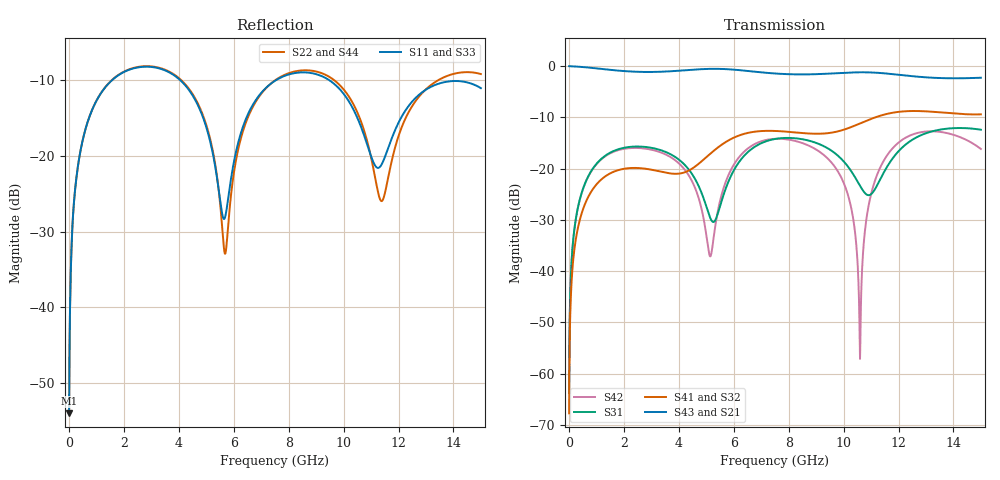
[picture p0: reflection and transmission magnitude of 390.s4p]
! Created with skrf 1.8.0 (http://scikit-rf.org).
# GHz S RI R 50.0
!freq ReS11 ImS11 ReS12 ImS12 ReS13 ImS13
! ReS14 ImS14
! ReS21 ImS21 ReS22 ImS22 ReS23 ImS23
! ReS24 ImS24
! ReS31 ImS31 ReS32 ImS32 ReS33 ImS33
! ReS34 ImS34
! ReS41 ImS41 ReS42 ImS42 ReS43 ImS43
! ReS44 ImS44
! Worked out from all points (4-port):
!   2499 points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, 5 MHz to 15 GHz, reference 50 ohm
!   strongest paths, dB at 5 MHz, 3.476 GHz, 7.19 GHz, 11.1 GHz, 15 GHz:
!     S43: 0.0, -1.1, -1.3, -1.3, -2.3
!     S21: 0.0, -1.1, -1.3, -1.3, -2.3
!     S41: -67.7, -20.7, -12.6, -10.1, -9.4
!     S32: -67.7, -20.9, -12.7, -10.1, -9.6
!     S31: -63.7, -16.6, -14.6, -24.4, -12.4
!     S42: -63.7, -17.1, -14.4, -23.1, -16.2
!   lowest |S11| = -54.0 dB at 5 MHz (marker M1), VSWR 1.00, Z = 50.2 + j0.12 ohm
!   |S11| at or under -10 dB: start of sweep to 1.558 GHz; 4.061 GHz to 7.522 GHz (3.461 GHz wide, 59.8 % of centre); 9.49 GHz to end of sweep
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0.005  0.00158 0.0012  0.9984 -0.00308  8.02e-05 0.00065  -7.77e-05 -0.000404
       0.9984 -0.00308  0.00158 0.0012  -7.77e-05 -0.000404  8.01e-05 0.00065
       8.02e-05 0.00065  -7.77e-05 -0.000404  0.00158 0.0012  0.9984 -0.00308
       -7.77e-05 -0.000404  8.01e-05 0.00065  0.9984 -0.00308  0.00158 0.0012
1.519383  0.2513 0.184  0.5853 -0.7072  0.1291 0.064  -0.0897 -0.012
          0.5853 -0.7072  0.2539 0.1824  -0.0894 -0.0123  0.1216 0.0732
          0.1291 0.064  -0.0894 -0.0123  0.2515 0.1839  0.5854 -0.7072
          -0.0897 -0.012  0.1216 0.0732  0.5854 -0.7072  0.2537 0.1825
5.508545  0.0396 -0.0309  -0.9268 -0.15  -0.0249 0.0359  -0.0211 0.166
          -0.9268 -0.15  0.0242 -0.041  -0.0263 0.1653  0.0159 0.0468
          -0.0249 0.0359  -0.0263 0.1653  0.0382 -0.0303  -0.9269 -0.15
          -0.0211 0.166  0.0159 0.0468  -0.9269 -0.15  0.0251 -0.0404
8.878699  0.3492 -0.046  0.0357 0.8311  0.1426 -0.1146  0.2038 -0.0809
          0.0357 0.8311  0.3612 -0.0581  0.2042 -0.0691  0.146 -0.0661
          0.1426 -0.1146  0.2042 -0.0691  0.3501 -0.0494  0.0351 0.8315
          0.2038 -0.0809  0.146 -0.0661  0.0351 0.8315  0.3586 -0.0545
10.59817  0.1238 -0.1049  0.7192 0.4893  -0.0503 -0.0459  0.1403 -0.2376
          0.7192 0.4893  0.108 -0.1392  0.1557 -0.2276  -0.00134 -0.000397
          -0.0503 -0.0459  0.1557 -0.2276  0.1176 -0.1068  0.7193 0.49
          0.1403 -0.2376  -0.00134 -0.000397  0.7193 0.49  0.111 -0.1348
11.67987  0.105 0.0591  0.8402 -0.0262  0.0239 0.1121  -0.0411 -0.3442
          0.8402 -0.0262  0.0649 0.0479  -0.0198 -0.346  0.0645 0.1312
          0.0239 0.1121  -0.0198 -0.346  0.1004 0.0642  0.8403 -0.0254
          -0.0411 -0.3442  0.0645 0.1312  0.8403 -0.0254  0.0683 0.0467
15  0.2677 -0.0857  -0.1166 -0.7602  0.1043 -0.2157  -0.3123 0.1309
    -0.1166 -0.7602  0.3293 -0.1139  -0.3169 0.0995  0.1405 -0.0668
    0.1043 -0.2157  -0.3169 0.0995  0.2678 -0.0971  -0.1144 -0.7616
    -0.3123 0.1309  0.1405 -0.0668  -0.1144 -0.7616  0.3225 -0.1049
